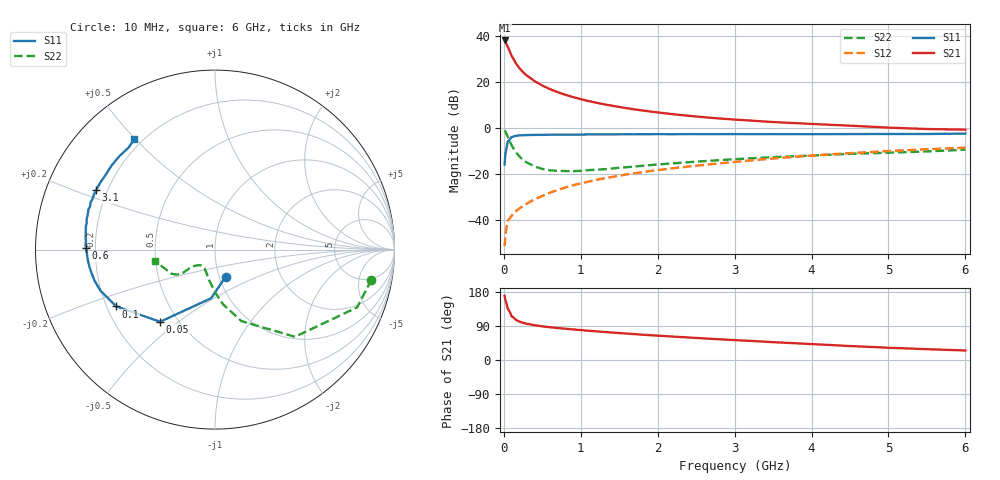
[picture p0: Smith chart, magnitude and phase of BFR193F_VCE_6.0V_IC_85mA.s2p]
! Infineon Technologies  Discrete & RF Semiconductors
! BFR193F
! VCE =  6.0 V,  IC =  85 mA
! Common Emitter S-Parameters:  Jan 2017
# GHz  S  MA  R  50
!  f  S11  S21  S12  S22
! GHz  MAG  ANG  MAG  ANG  MAG  ANG  MAG  ANG
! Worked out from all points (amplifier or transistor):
!   77 points, 10 MHz to 6 GHz, reference 50 ohm
!   highest |S21| = 38.1 dB at 10 MHz (marker M1)
!   |S21| within 3 dB of that: start of sweep to 53.93 MHz
!   unconditionally stable (mu >= 1): 515.7 MHz to 2.632 GHz
!   at 130 MHz: K = 0.60, MSG = 33.4 dB, |S12| = -37.0 dB
!   at 2.2 GHz: K = 1.02, MAG = 10.8 dB, |S12| = -17.5 dB
!   at 6 GHz: K = 0.86, MSG = 3.9 dB, |S12| = -8.5 dB
!   S11 on the Smith chart (normalised r, x): 10 MHz: 1.07, -0.33; 50 MHz: 0.40, -0.43; 100 MHz: 0.24, -0.25; 600 MHz: 0.16, +0.01; 3.1 GHz: 0.16, +0.23; 6 GHz: 0.17, +0.50
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0.01  0.1617 -68.3  80.78 169.1  0.0027 80.0  0.8879 -10.9
0.02  0.2721 -94.6  76.92 158.4  0.0044 76.4  0.8548 -22.1
0.05  0.5047 -127.2  59.07 135.2  0.0094 58.0  0.6591 -47.5
0.1  0.6349 -150.1  37.6 115.7  0.0123 54.2  0.4242 -69.8
0.15  0.6775 -160.1  26.65 106.9  0.0153 53.8  0.3082 -81.6
0.2  0.6934 -165.6  20.44 101.5  0.0177 57.6  0.2453 -88.8
0.25  0.7007 -169.6  16.5 98.0  0.0203 59.4  0.202 -94.9
0.3  0.7059 -172.0  13.87 95.5  0.0228 63.1  0.1779 -99.9
0.4  0.7118 -175.8  10.47 91.6  0.0282 67.4  0.1458 -107.7
0.5  0.7142 -178.4  8.424 88.9  0.0334 70.3  0.1296 -113.6
0.6  0.7192 179.4  7.051 86.4  0.0394 71.9  0.1207 -119.1
0.7  0.7223 177.5  6.057 84.3  0.0452 72.8  0.1176 -123.1
0.8  0.7202 176.2  5.305 82.5  0.0511 73.7  0.1164 -127.3
0.9  0.7249 174.5  4.734 80.7  0.0571 75.2  0.1158 -129.6
1.1  0.7277 171.9  3.889 77.2  0.0685 75.9  0.1218 -133.9
1.3  0.7311 169.5  3.31 74.1  0.0806 76.3  0.1272 -137.1
1.5  0.733 167.5  2.886 71.1  0.0924 76.4  0.1373 -139.6
2.1  0.7382 161.8  2.099 63.1  0.1278 75.9  0.1663 -143.2
3.1  0.7402 153.4  1.498 51.5  0.1902 73.5  0.2151 -143.9
4.1  0.7386 144.5  1.212 41.0  0.2588 69.1  0.2576 -147.5
5.1  0.7446 134.5  1.011 31.6  0.3227 63.1  0.2957 -158.3
6  0.7614 126.1  0.926 25.1  0.3746 57.5  0.3399 -169.1
